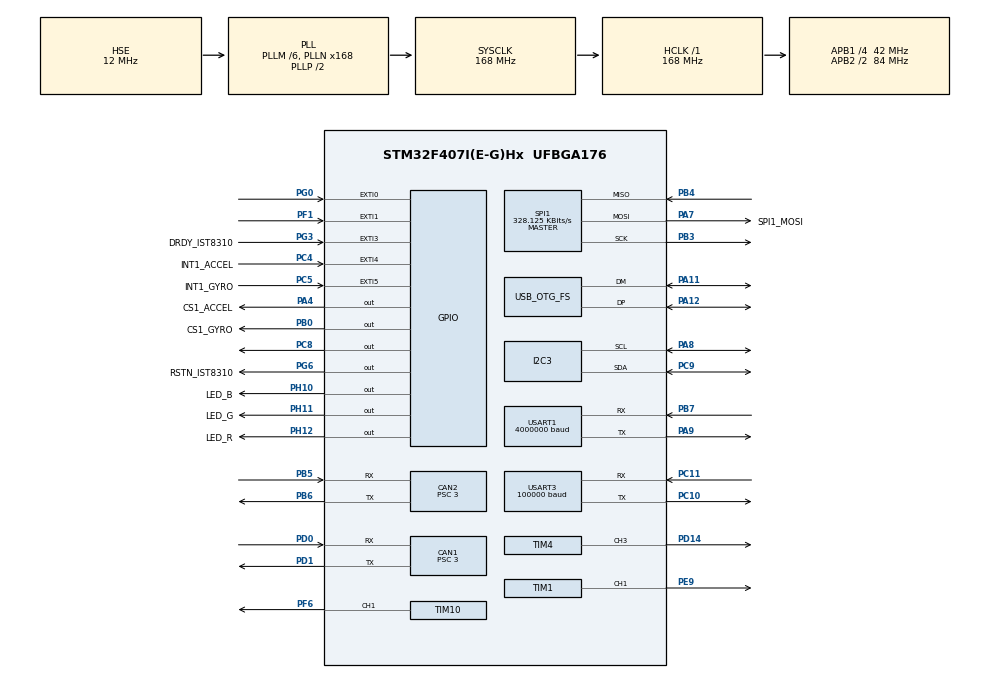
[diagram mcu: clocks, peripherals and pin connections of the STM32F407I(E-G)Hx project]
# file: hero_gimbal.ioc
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CAN1.BS1=CAN_BS1_10TQ
CAN1.BS2=CAN_BS2_3TQ
CAN1.CalculateBaudRate=1000000
CAN1.CalculateTimeBit=1000
CAN1.CalculateTimeQuantum=71.42857142857143
CAN1.Prescaler=3
CAN2.BS1=CAN_BS1_10TQ
CAN2.BS2=CAN_BS2_3TQ
CAN2.CalculateBaudRate=1000000
CAN2.CalculateTimeBit=1000
CAN2.CalculateTimeQuantum=71.42857142857143
CAN2.Prescaler=3
Dma.Request0=USART3_RX
Dma.Request1=SPI1_RX
Dma.Request2=SPI1_TX
Dma.Request3=USART1_RX
Dma.Request4=USART1_TX
Dma.SPI1_RX.1.Direction=DMA_PERIPH_TO_MEMORY
Dma.SPI1_RX.1.FIFOMode=DMA_FIFOMODE_DISABLE
Dma.SPI1_RX.1.Instance=DMA2_Stream2
Dma.SPI1_RX.1.MemDataAlignment=DMA_MDATAALIGN_BYTE
Dma.SPI1_RX.1.MemInc=DMA_MINC_ENABLE
Dma.SPI1_RX.1.Mode=DMA_NORMAL
Dma.SPI1_RX.1.PeriphDataAlignment=DMA_PDATAALIGN_BYTE
Dma.SPI1_RX.1.PeriphInc=DMA_PINC_DISABLE
Dma.SPI1_RX.1.Priority=DMA_PRIORITY_VERY_HIGH
Dma.SPI1_TX.2.Direction=DMA_MEMORY_TO_PERIPH
Dma.SPI1_TX.2.FIFOMode=DMA_FIFOMODE_DISABLE
Dma.SPI1_TX.2.Instance=DMA2_Stream3
Dma.SPI1_TX.2.MemDataAlignment=DMA_MDATAALIGN_BYTE
Dma.SPI1_TX.2.MemInc=DMA_MINC_ENABLE
Dma.SPI1_TX.2.Mode=DMA_NORMAL
Dma.SPI1_TX.2.PeriphDataAlignment=DMA_PDATAALIGN_BYTE
Dma.SPI1_TX.2.PeriphInc=DMA_PINC_DISABLE
Dma.SPI1_TX.2.Priority=DMA_PRIORITY_HIGH
Dma.USART1_RX.3.Direction=DMA_PERIPH_TO_MEMORY
Dma.USART1_RX.3.FIFOMode=DMA_FIFOMODE_DISABLE
Dma.USART1_RX.3.Instance=DMA2_Stream5
Dma.USART1_RX.3.MemDataAlignment=DMA_MDATAALIGN_BYTE
Dma.USART1_RX.3.MemInc=DMA_MINC_ENABLE
Dma.USART1_RX.3.Mode=DMA_NORMAL
Dma.USART1_RX.3.PeriphDataAlignment=DMA_PDATAALIGN_BYTE
Dma.USART1_RX.3.PeriphInc=DMA_PINC_DISABLE
Dma.USART1_RX.3.Priority=DMA_PRIORITY_HIGH
Dma.USART1_TX.4.Direction=DMA_MEMORY_TO_PERIPH
Dma.USART1_TX.4.FIFOMode=DMA_FIFOMODE_DISABLE
Dma.USART1_TX.4.Instance=DMA2_Stream7
Dma.USART1_TX.4.MemDataAlignment=DMA_MDATAALIGN_BYTE
Dma.USART1_TX.4.MemInc=DMA_MINC_ENABLE
Dma.USART1_TX.4.Mode=DMA_NORMAL
Dma.USART1_TX.4.PeriphDataAlignment=DMA_PDATAALIGN_BYTE
Dma.USART1_TX.4.PeriphInc=DMA_PINC_DISABLE
Dma.USART1_TX.4.Priority=DMA_PRIORITY_MEDIUM
Dma.USART3_RX.0.Direction=DMA_PERIPH_TO_MEMORY
Dma.USART3_RX.0.FIFOMode=DMA_FIFOMODE_DISABLE
Dma.USART3_RX.0.Instance=DMA1_Stream1
Dma.USART3_RX.0.MemDataAlignment=DMA_MDATAALIGN_BYTE
Dma.USART3_RX.0.MemInc=DMA_MINC_ENABLE
Dma.USART3_RX.0.Mode=DMA_CIRCULAR
Dma.USART3_RX.0.PeriphDataAlignment=DMA_PDATAALIGN_BYTE
Dma.USART3_RX.0.PeriphInc=DMA_PINC_DISABLE
Dma.USART3_RX.0.Priority=DMA_PRIORITY_LOW
FREERTOS.INCLUDE_vTaskDelayUntil=1
FREERTOS.INCLUDE_xTaskGetHandle=1
FREERTOS.Tasks01=ProteckTask,1,128,Protecck_Fun,Default,NULL,Dynamic,NULL,NULL;IMUTask,2,512,INS_task,As weak,NULL,Dynamic,NULL,NULL;GimbleTask,2,128,Gimble_Fun,As weak,NULL,Dynamic,NULL,NULL;ShootTask,2,128,Shoot_Fun,As weak,NULL,Dynamic,NULL,NULL
I2C3.I2C_Mode=I2C_Fast
Mcu.Family=STM32F4
Mcu.Name=STM32F407I(E-G)Hx
Mcu.Package=UFBGA176
NVIC.CAN1_RX0_IRQn=true\:5\:0\:true\:false\:true\:true\:true\:true\:true
NVIC.CAN2_RX0_IRQn=true\:5\:0\:false\:false\:true\:true\:true\:true\:true
NVIC.DMA1_Stream1_IRQn=true\:5\:0\:true\:false\:true\:true\:false\:true\:true
NVIC.DMA2_Stream2_IRQn=true\:5\:0\:true\:false\:true\:true\:false\:true\:true
NVIC.DMA2_Stream3_IRQn=true\:5\:0\:false\:false\:true\:true\:false\:true\:true
NVIC.DMA2_Stream5_IRQn=true\:5\:0\:false\:false\:true\:true\:false\:true\:true
NVIC.DMA2_Stream7_IRQn=true\:5\:0\:false\:false\:true\:true\:false\:true\:true
NVIC.EXTI0_IRQn=true\:6\:0\:true\:false\:true\:true\:true\:true\:true
NVIC.EXTI1_IRQn=true\:5\:0\:true\:false\:true\:true\:true\:true\:true
NVIC.EXTI3_IRQn=true\:5\:0\:true\:false\:true\:true\:true\:true\:true
NVIC.EXTI4_IRQn=true\:5\:0\:true\:false\:true\:true\:true\:true\:true
NVIC.EXTI9_5_IRQn=true\:5\:0\:true\:false\:true\:true\:true\:true\:true
NVIC.OTG_FS_IRQn=true\:5\:0\:false\:false\:true\:true\:true\:true\:true
NVIC.PriorityGroup=NVIC_PRIORITYGROUP_4
NVIC.TIM1_UP_TIM10_IRQn=true\:0\:0\:true\:false\:true\:false\:true\:true\:true
NVIC.TIM4_IRQn=true\:0\:0\:true\:false\:true\:false\:true\:true\:true
NVIC.TIM6_DAC_IRQn=true\:15\:0\:false\:false\:true\:false\:false\:true\:true
NVIC.TimeBase=TIM6_DAC_IRQn
NVIC.TimeBaseIP=TIM6
NVIC.USART1_IRQn=true\:5\:0\:false\:false\:true\:true\:true\:true\:true
NVIC.USART3_IRQn=true\:5\:0\:true\:false\:true\:true\:true\:true\:true
PA11.Mode=Device_Only
PA11.Signal=USB_OTG_FS_DM
PA12.Mode=Device_Only
PA12.Signal=USB_OTG_FS_DP
PA13.Mode=Serial_Wire
PA13.Signal=SYS_JTMS-SWDIO
PA14.Mode=Serial_Wire
PA14.Signal=SYS_JTCK-SWCLK
PA4.GPIO_Label=CS1_ACCEL
PA4.PinState=GPIO_PIN_SET
PA4.Signal=GPIO_Output
PA7.GPIO_Label=SPI1_MOSI
PA7.GPIO_PuPd=GPIO_PULLUP
PA7.Mode=Full_Duplex_Master
PA7.Signal=SPI1_MOSI
PA8.Mode=I2C
PA8.Signal=I2C3_SCL
PA9.Mode=Asynchronous
PA9.Signal=USART1_TX
PB0.GPIO_Label=CS1_GYRO
PB0.PinState=GPIO_PIN_SET
PB0.Signal=GPIO_Output
PB3.Mode=Full_Duplex_Master
PB3.Signal=SPI1_SCK
PB4.GPIO_PuPd=GPIO_PULLUP
PB4.Mode=Full_Duplex_Master
PB4.Signal=SPI1_MISO
PB5.Mode=CAN_Activate
PB5.Signal=CAN2_RX
PB6.Mode=CAN_Activate
PB6.Signal=CAN2_TX
PB7.Mode=Asynchronous
PB7.Signal=USART1_RX
PC10.Mode=Asynchronous
PC10.Signal=USART3_TX
PC11.Mode=Asynchronous
PC11.Signal=USART3_RX
PC4.GPIO_Label=INT1_ACCEL
PC4.GPIO_PuPd=GPIO_PULLUP
PC4.Signal=GPXTI4
PC5.GPIO_Label=INT1_GYRO
PC5.GPIO_PuPd=GPIO_PULLUP
PC5.Signal=GPXTI5
PC8.GPIO_PuPd=GPIO_PULLUP
PC8.Signal=GPIO_Output
PC9.Mode=I2C
PC9.Signal=I2C3_SDA
PD0.Mode=CAN_Activate
PD0.Signal=CAN1_RX
PD1.Mode=CAN_Activate
PD1.Signal=CAN1_TX
PD14.Signal=S_TIM4_CH3
PE9.Signal=S_TIM1_CH1
PF1.Signal=GPXTI1
PF6.Signal=S_TIM10_CH1
PG0.Signal=GPXTI0
PG3.GPIO_Label=DRDY_IST8310
PG3.GPIO_PuPd=GPIO_PULLUP
PG3.Signal=GPXTI3
PG6.GPIO_Label=RSTN_IST8310
PG6.GPIO_PuPd=GPIO_PULLUP
PG6.GPIO_Speed=GPIO_SPEED_FREQ_MEDIUM
PG6.PinState=GPIO_PIN_SET
PG6.Signal=GPIO_Output
PH0-OSC_IN.Mode=HSE-External-Oscillator
PH0-OSC_IN.Signal=RCC_OSC_IN
PH1-OSC_OUT.Mode=HSE-External-Oscillator
PH1-OSC_OUT.Signal=RCC_OSC_OUT
PH10.GPIO_Label=LED_B
PH10.Signal=GPIO_Output
PH11.GPIO_Label=LED_G
PH11.Signal=GPIO_Output
PH12.GPIO_Label=LED_R
PH12.Signal=GPIO_Output
ProjectManager.HeapSize=0x200
ProjectManager.StackSize=0x400
ProjectManager.TargetToolchain=MDK-ARM V5.32
RCC.48MHZClocksFreq_Value=48000000
RCC.AHBFreq_Value=168000000
RCC.APB1CLKDivider=RCC_HCLK_DIV4
RCC.APB1Freq_Value=42000000
RCC.APB1TimFreq_Value=84000000
RCC.APB2CLKDivider=RCC_HCLK_DIV2
RCC.APB2Freq_Value=84000000
RCC.APB2TimFreq_Value=168000000
RCC.CortexFreq_Value=168000000
RCC.HCLKFreq_Value=168000000
RCC.HSE_VALUE=12000000
RCC.HSI_VALUE=16000000
RCC.LSE_VALUE=32768
RCC.PLLM=6
RCC.PLLN=168
RCC.PLLQ=7
RCC.SYSCLKFreq_VALUE=168000000
RCC.SYSCLKSource=RCC_SYSCLKSOURCE_PLLCLK
RCC.VCOOutputFreq_Value=336000000
SH.S_TIM10_CH1.0=TIM10_CH1,PWM Generation1 CH1
SH.S_TIM1_CH1.0=TIM1_CH1,PWM Generation1 CH1
SH.S_TIM4_CH3.0=TIM4_CH3,PWM Generation3 CH3
SPI1.BaudRatePrescaler=SPI_BAUDRATEPRESCALER_256
SPI1.CLKPhase=SPI_PHASE_2EDGE
SPI1.CLKPolarity=SPI_POLARITY_HIGH
SPI1.CalculateBaudRate=328.125 KBits/s
SPI1.Direction=SPI_DIRECTION_2LINES
SPI1.Mode=SPI_MODE_MASTER
SPI1.VirtualType=VM_MASTER
STMicroelectronics.X-CUBE-ALGOBUILD.1.3.0.LibraryCcDSPOoLibraryJjDSPOoLibrary=true
TIM1.AutoReloadPreload=TIM_AUTORELOAD_PRELOAD_ENABLE
TIM1.Channel-PWM\ Generation1\ CH1=TIM_CHANNEL_1
TIM1.Period=499
TIM1.Prescaler=329
TIM10.Channel=TIM_CHANNEL_1
TIM10.Period=4999
TIM4.Channel-PWM\ Generation3\ CH3=TIM_CHANNEL_3
TIM4.Period=4999
TIM4.Prescaler=16799
USART1.BaudRate=4000000
USART1.VirtualMode=VM_ASYNC
USART3.BaudRate=100000
USART3.Parity=PARITY_EVEN
USART3.VirtualMode=VM_ASYNC
USART3.WordLength=WORDLENGTH_9B
USB_DEVICE.CLASS_NAME_FS=CDC
USB_DEVICE.VirtualMode-CDC_FS=Cdc
USB_DEVICE.VirtualModeFS=Cdc_FS
USB_OTG_FS.VirtualMode=Device_Only
VP_FREERTOS_VS_CMSIS_V1.Mode=CMSIS_V1
VP_STMicroelectronics.X-CUBE-ALGOBUILD_VS_DSPOoLibraryJjLibrary_1.3.0_1.3.0.Mode=DSPOoLibraryJjLibrary
VP_SYS_VS_tim6.Mode=TIM6
VP_TIM10_VS_ClockSourceINT.Mode=Enable_Timer
VP_TIM1_VS_ClockSourceINT.Mode=Internal
VP_TIM4_VS_ClockSourceINT.Mode=Internal
VP_USB_DEVICE_VS_USB_DEVICE_CDC_FS.Mode=CDC_FS
board=custom

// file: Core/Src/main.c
/* USER CODE BEGIN Header */
/**
  ******************************************************************************
  * @file           : main.c
  * @brief          : Main program body
  ******************************************************************************
  * @attention
  *
  * Copyright (c) 2024 STMicroelectronics.
  * All rights reserved.
  *
  * This software is licensed under terms that can be found in the LICENSE file
  * in the root directory of this software component.
  * If no LICENSE file comes with this software, it is provided AS-IS.
  *
  ******************************************************************************
  */
/* USER CODE END Header */
#include "main.h"
#include "cmsis_os.h"
#include "can.h"
#include "dma.h"
#include "i2c.h"
#include "spi.h"
#include "tim.h"
#include "usart.h"
#include "usb_device.h"
#include "gpio.h"

/* USER CODE BEGIN Includes */
#include "bsp_can.h"
#include "Board_can.h"
#include "Gimbal_Task.h"
#include "INS_task.h"

/* USER CODE END Includes */

void SystemClock_Config(void);
void MX_FREERTOS_Init(void);

int main(void)
{

  /* MCU Configuration--------------------------------------------------------*/

  /* Reset of all peripherals, Initializes the Flash interface and the Systick. */
  HAL_Init();

  /* Configure the system clock */
  SystemClock_Config();

  /* Initialize all configured peripherals */
  MX_GPIO_Init();
  MX_DMA_Init();
  MX_CAN1_Init();
  MX_USART3_UART_Init();
  MX_SPI1_Init();
  MX_TIM10_Init();
  MX_I2C3_Init();
  MX_CAN2_Init();
  MX_USART1_UART_Init();
  MX_TIM1_Init();
  MX_TIM4_Init();
  /* USER CODE BEGIN 2 */
	CAN_Init();
//	RC_Init(board_rx_buf[0], board_rx_buf[1], CMNT_RX_MAX);
	MX_USB_DEVICE_Init();
	HAL_TIM_Base_Start_IT(&htim4);//启动定时器中断
	HAL_TIM_Base_Start_IT(&htim1);
  /* USER CODE END 2 */

  /* Call init function for freertos objects (in freertos.c) */
  MX_FREERTOS_Init();

  /* Start scheduler */
  osKernelStart();

  /* We should never get here as control is now taken by the scheduler */
  /* Infinite loop */
  while (1)
  {

  }
}

void SystemClock_Config(void)
{
  RCC_OscInitTypeDef RCC_OscInitStruct = {0};
  RCC_ClkInitTypeDef RCC_ClkInitStruct = {0};

  /** Configure the main internal regulator output voltage
  */
  __HAL_RCC_PWR_CLK_ENABLE();
  __HAL_PWR_VOLTAGESCALING_CONFIG(PWR_REGULATOR_VOLTAGE_SCALE1);

  /** Initializes the RCC Oscillators according to the specified parameters
  * in the RCC_OscInitTypeDef structure.
  */
  RCC_OscInitStruct.OscillatorType = RCC_OSCILLATORTYPE_HSE;
  RCC_OscInitStruct.HSEState = RCC_HSE_ON;
  RCC_OscInitStruct.PLL.PLLState = RCC_PLL_ON;
  RCC_OscInitStruct.PLL.PLLSource = RCC_PLLSOURCE_HSE;
  RCC_OscInitStruct.PLL.PLLM = 6;
  RCC_OscInitStruct.PLL.PLLN = 168;
  RCC_OscInitStruct.PLL.PLLP = RCC_PLLP_DIV2;
  RCC_OscInitStruct.PLL.PLLQ = 7;
  if (HAL_RCC_OscConfig(&RCC_OscInitStruct) != HAL_OK)
  {
    Error_Handler();
  }

  /** Initializes the CPU, AHB and APB buses clocks
  */
  RCC_ClkInitStruct.ClockType = RCC_CLOCKTYPE_HCLK|RCC_CLOCKTYPE_SYSCLK
                              |RCC_CLOCKTYPE_PCLK1|RCC_CLOCKTYPE_PCLK2;
  RCC_ClkInitStruct.SYSCLKSource = RCC_SYSCLKSOURCE_PLLCLK;
  RCC_ClkInitStruct.AHBCLKDivider = RCC_SYSCLK_DIV1;
  RCC_ClkInitStruct.APB1CLKDivider = RCC_HCLK_DIV4;
  RCC_ClkInitStruct.APB2CLKDivider = RCC_HCLK_DIV2;

  if (HAL_RCC_ClockConfig(&RCC_ClkInitStruct, FLASH_LATENCY_5) != HAL_OK)
  {
    Error_Handler();
  }
}

void HAL_TIM_PeriodElapsedCallback(TIM_HandleTypeDef *htim)
{
  /* USER CODE BEGIN Callback 0 */
	if (htim->Instance == TIM1)
	{

	}

	if (htim->Instance == TIM4)
	{
			//频率计数
			Frequency_calc();

	}

  /* USER CODE END Callback 0 */
  if (htim->Instance == TIM6) {
    HAL_IncTick();
  }
}

void Error_Handler(void)
{
  __disable_irq();
  while (1)
  {
  }
}

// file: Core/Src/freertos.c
/* USER CODE BEGIN Header */
/**
  ******************************************************************************
  * File Name          : freertos.c
  * Description        : Code for freertos applications
  ******************************************************************************
  * @attention
  *
  * Copyright (c) 2024 STMicroelectronics.
  * All rights reserved.
  *
  * This software is licensed under terms that can be found in the LICENSE file
  * in the root directory of this software component.
  * If no LICENSE file comes with this software, it is provided AS-IS.
  *
  ******************************************************************************
  */
/* USER CODE END Header */

#include "FreeRTOS.h"
#include "task.h"
#include "main.h"
#include "cmsis_os.h"

/* USER CODE BEGIN Variables */
osThreadId Board_uartTaskHandle;
/* USER CODE END Variables */
osThreadId ProteckTaskHandle;
osThreadId IMUTaskHandle;
osThreadId GimbleTaskHandle;
osThreadId ShootTaskHandle;

/* USER CODE BEGIN FunctionPrototypes */
void Board_uart_Fun(void const * argument);
/* USER CODE END FunctionPrototypes */

void Protecck_Fun(void const * argument);
void INS_task(void const * argument);
void Gimble_Fun(void const * argument);
void Shoot_Fun(void const * argument);

extern void MX_USB_DEVICE_Init(void);
void MX_FREERTOS_Init(void); /* (MISRA C 2004 rule 8.1) */

/* GetIdleTaskMemory prototype (linked to static allocation support) */
void vApplicationGetIdleTaskMemory( StaticTask_t **ppxIdleTaskTCBBuffer, StackType_t **ppxIdleTaskStackBuffer, uint32_t *pulIdleTaskStackSize );

/* USER CODE BEGIN GET_IDLE_TASK_MEMORY */
static StaticTask_t xIdleTaskTCBBuffer;
static StackType_t xIdleStack[configMINIMAL_STACK_SIZE];

void vApplicationGetIdleTaskMemory( StaticTask_t **ppxIdleTaskTCBBuffer, StackType_t **ppxIdleTaskStackBuffer, uint32_t *pulIdleTaskStackSize )
{
  *ppxIdleTaskTCBBuffer = &xIdleTaskTCBBuffer;
  *ppxIdleTaskStackBuffer = &xIdleStack[0];
  *pulIdleTaskStackSize = configMINIMAL_STACK_SIZE;
  /* place for user code */
}
/* USER CODE END GET_IDLE_TASK_MEMORY */

void MX_FREERTOS_Init(void) {

  /* Create the thread(s) */
  /* definition and creation of ProteckTask */
  osThreadDef(ProteckTask, Protecck_Fun, osPriorityAboveNormal, 0, 128);
  ProteckTaskHandle = osThreadCreate(osThread(ProteckTask), NULL);

  /* definition and creation of IMUTask */
  osThreadDef(IMUTask, INS_task, osPriorityHigh, 0, 512);
  IMUTaskHandle = osThreadCreate(osThread(IMUTask), NULL);

  /* definition and creation of GimbleTask */
  osThreadDef(GimbleTask, Gimble_Fun, osPriorityHigh, 0, 128);
  GimbleTaskHandle = osThreadCreate(osThread(GimbleTask), NULL);

  /* definition and creation of ShootTask */
  osThreadDef(ShootTask, Shoot_Fun, osPriorityHigh, 0, 128);
  ShootTaskHandle = osThreadCreate(osThread(ShootTask), NULL);

  /* USER CODE BEGIN RTOS_THREADS */

  osThreadDef(Board_uartTask, Board_uart_Fun, osPriorityHigh, 0, 128);
  ShootTaskHandle = osThreadCreate(osThread(Board_uartTask), NULL);
  /* add threads, ... */
  /* USER CODE END RTOS_THREADS */

}

void Protecck_Fun(void const * argument)
{
  /* init code for USB_DEVICE */
  MX_USB_DEVICE_Init();
  for(;;)
  {
    osDelay(1);
  }
}

__weak void INS_task(void const * argument)
{
  for(;;)
  {
    osDelay(1);
  }
}

__weak void Gimble_Fun(void const * argument)
{
  for(;;)
  {
    osDelay(1);
  }
}

__weak void Shoot_Fun(void const * argument)
{
  for(;;)
  {
    osDelay(1);
  }
}

/* USER CODE BEGIN Application */
__weak void Board_uart_Fun(void const * argument)
{
  /* USER CODE BEGIN Shoot_Fun */
  /* Infinite loop */
  for(;;)
  {
    osDelay(1);
  }
  /* USER CODE END Shoot_Fun */
}
/* USER CODE END Application */
